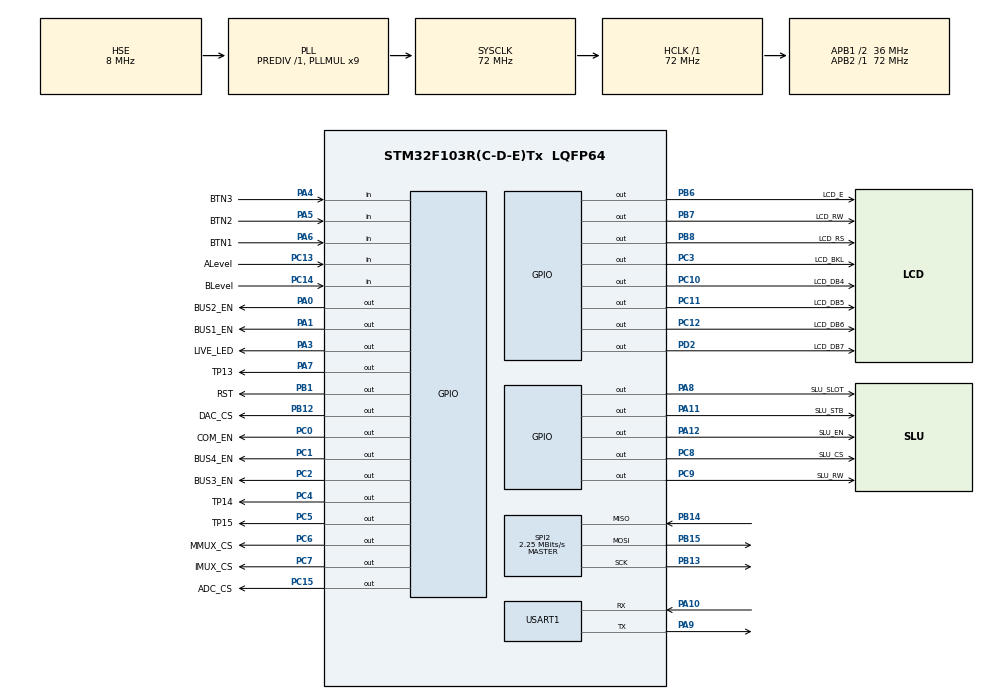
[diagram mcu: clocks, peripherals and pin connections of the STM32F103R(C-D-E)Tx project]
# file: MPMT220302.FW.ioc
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Mcu.Family=STM32F1
Mcu.Name=STM32F103R(C-D-E)Tx
Mcu.Package=LQFP64
NVIC.PriorityGroup=NVIC_PRIORITYGROUP_4
PA0-WKUP.GPIO_Label=BUS2_EN
PA0-WKUP.Signal=GPIO_Output
PA1.GPIO_Label=BUS1_EN
PA1.Signal=GPIO_Output
PA10.Mode=Asynchronous
PA10.Signal=USART1_RX
PA11.GPIO_Label=SLU_STB
PA11.Signal=GPIO_Output
PA12.GPIO_Label=SLU_EN
PA12.Signal=GPIO_Output
PA13.Mode=Trace_Asynchronous_SW
PA13.Signal=SYS_JTMS-SWDIO
PA14.Mode=Trace_Asynchronous_SW
PA14.Signal=SYS_JTCK-SWCLK
PA3.GPIO_Label=LIVE_LED
PA3.Signal=GPIO_Output
PA4.GPIO_Label=BTN3
PA4.Signal=GPIO_Input
PA5.GPIO_Label=BTN2
PA5.Signal=GPIO_Input
PA6.GPIO_Label=BTN1
PA6.Signal=GPIO_Input
PA7.GPIO_Label=TP13
PA7.Signal=GPIO_Output
PA8.GPIO_Label=SLU_SLOT
PA8.GPIO_ModeDefaultOutputPP=GPIO_MODE_OUTPUT_PP
PA8.GPIO_PuPd=GPIO_NOPULL
PA8.GPIO_Speed=GPIO_SPEED_FREQ_HIGH
PA8.PinState=GPIO_PIN_SET
PA8.Signal=GPIO_Output
PA9.Mode=Asynchronous
PA9.Signal=USART1_TX
PB1.GPIO_Label=RST
PB1.PinState=GPIO_PIN_SET
PB1.Signal=GPIO_Output
PB12.GPIO_Label=DAC_CS
PB12.GPIO_ModeDefaultOutputPP=GPIO_MODE_OUTPUT_OD
PB12.GPIO_PuPd=GPIO_NOPULL
PB12.PinState=GPIO_PIN_SET
PB12.Signal=GPIO_Output
PB13.Mode=Full_Duplex_Master
PB13.Signal=SPI2_SCK
PB14.Mode=Full_Duplex_Master
PB14.Signal=SPI2_MISO
PB15.Mode=Full_Duplex_Master
PB15.Signal=SPI2_MOSI
PB3.Mode=Trace_Asynchronous_SW
PB3.Signal=SYS_JTDO-TRACESWO
PB6.GPIO_Label=LCD_E
PB6.PinState=GPIO_PIN_SET
PB6.Signal=GPIO_Output
PB7.GPIO_Label=LCD_RW
PB7.PinState=GPIO_PIN_SET
PB7.Signal=GPIO_Output
PB8.GPIO_Label=LCD_RS
PB8.PinState=GPIO_PIN_SET
PB8.Signal=GPIO_Output
PC0.GPIO_Label=COM_EN
PC0.Signal=GPIO_Output
PC1.GPIO_Label=BUS4_EN
PC1.Signal=GPIO_Output
PC10.GPIO_Label=LCD_DB4
PC10.PinState=GPIO_PIN_SET
PC10.Signal=GPIO_Output
PC11.GPIO_Label=LCD_DB5
PC11.PinState=GPIO_PIN_SET
PC11.Signal=GPIO_Output
PC12.GPIO_Label=LCD_DB6
PC12.PinState=GPIO_PIN_SET
PC12.Signal=GPIO_Output
PC13-TAMPER-RTC.GPIO_Label=ALevel
PC13-TAMPER-RTC.Signal=GPIO_Input
PC14-OSC32_IN.GPIO_Label=BLevel
PC14-OSC32_IN.Signal=GPIO_Input
PC15-OSC32_OUT.GPIO_Label=ADC_CS
PC15-OSC32_OUT.PinState=GPIO_PIN_SET
PC15-OSC32_OUT.Signal=GPIO_Output
PC2.GPIO_Label=BUS3_EN
PC2.Signal=GPIO_Output
PC3.GPIO_Label=LCD_BKL
PC3.Signal=GPIO_Output
PC4.GPIO_Label=TP14
PC4.Signal=GPIO_Output
PC5.GPIO_Label=TP15
PC5.Signal=GPIO_Output
PC6.GPIO_Label=MMUX_CS
PC6.PinState=GPIO_PIN_SET
PC6.Signal=GPIO_Output
PC7.GPIO_Label=IMUX_CS
PC7.PinState=GPIO_PIN_SET
PC7.Signal=GPIO_Output
PC8.GPIO_Label=SLU_CS
PC8.PinState=GPIO_PIN_SET
PC8.Signal=GPIO_Output
PC9.GPIO_Label=SLU_RW
PC9.Signal=GPIO_Output
PD0-OSC_IN.Mode=HSE-External-Oscillator
PD0-OSC_IN.Signal=RCC_OSC_IN
PD1-OSC_OUT.Mode=HSE-External-Oscillator
PD1-OSC_OUT.Signal=RCC_OSC_OUT
PD2.GPIO_Label=LCD_DB7
PD2.PinState=GPIO_PIN_SET
PD2.Signal=GPIO_Output
ProjectManager.HeapSize=0x200
ProjectManager.StackSize=0x400
ProjectManager.TargetToolchain=STM32CubeIDE
RCC.AHBFreq_Value=72000000
RCC.APB1CLKDivider=RCC_HCLK_DIV2
RCC.APB1Freq_Value=36000000
RCC.APB1TimFreq_Value=72000000
RCC.APB2Freq_Value=72000000
RCC.APB2TimFreq_Value=72000000
RCC.HCLKFreq_Value=72000000
RCC.PLLMUL=RCC_PLL_MUL9
RCC.PLLSourceVirtual=RCC_PLLSOURCE_HSE
RCC.SYSCLKFreq_VALUE=72000000
RCC.SYSCLKSource=RCC_SYSCLKSOURCE_PLLCLK
RCC.USBFreq_Value=72000000
SPI2.BaudRatePrescaler=SPI_BAUDRATEPRESCALER_16
SPI2.CalculateBaudRate=2.25 MBits/s
SPI2.Direction=SPI_DIRECTION_2LINES
SPI2.Mode=SPI_MODE_MASTER
SPI2.VirtualType=VM_MASTER
USART1.VirtualMode=VM_ASYNC
board=custom

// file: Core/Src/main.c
/* USER CODE BEGIN Header */
/**
  ******************************************************************************
  * @file           : main.c
  * @brief          : Main program body
  ******************************************************************************
  * @attention
  *
  * Copyright (c) 2022 STMicroelectronics.
  * All rights reserved.
  *
  * This software is licensed under terms that can be found in the LICENSE file
  * in the root directory of this software component.
  * If no LICENSE file comes with this software, it is provided AS-IS.
  *
  ******************************************************************************
  */
/* USER CODE END Header */
#include "main.h"

/* USER CODE BEGIN Includes */
#include <string.h>
#include <stdio.h>
#include "LiveLed.h"
#include "hd44780.h"
#include "slu.h"
#include "mux.h"
#include "common.h"
/* USER CODE END Includes */

/* USER CODE BEGIN PTD */
#define MEAS_HOLD_TIME_MS   10 //2022.05.06 - 10ms

typedef enum _CtrlStatesTypeDef
{
  SDEV_START,                   //0
  SDEV_WAIT,                    //1
  SDEV_WAIT_FOR_CARD,
  SDEV_TST_MODE_SELECT,
  SDEV_WROK_U7178A,
  SDEV_DISCON,
  SDEV_BYPASS,
  SDEV_ROWS,
  SDEV_AUX,
  SDEV_INST_ROW,
  SDEV_INST_UUT,
  SDEV_FAIL_DETAIL,
  SDEV_NO_CARD,
  SDEV_NOT_SUPPERTED,
  SDEV_END,

}CtrlStatesTypeDef;

typedef enum _TestMode
{
  UUT_MODE_FULL,
  UUT_MODE_DEBUG
}UutMode_t;

typedef enum _TestType2
{
  TEST_TYPE_OPEN = 0,
  TEST_TYPE_CLOSE,
}TestType2_t;

typedef struct _AppTypeDef
{
  uint16_t FailCnt;
  uint16_t PassCnt;

  char UutName[20];
  char TestName[20];
  char ResultLine[20];

  UutMode_t UutMode;
  uint8_t FailAcceptFlag;
  CtrlStatesTypeDef SavedState;

  uint8_t CurrentRow;
  uint8_t RowsEnd;

  TestType2_t CurrentTestType;

  /*
   * 1:ABUS1
   * 2:ABUS2
   * 3:ABUS3
   * 4:ABUS4
   * 5:UUTCOM
   */
  uint8_t CurrentAnalogBus;

  struct
  {
    CtrlStatesTypeDef Next;
    CtrlStatesTypeDef Curr;
    CtrlStatesTypeDef Pre;
  }State;

}DeviceTypeDef;

/* USER CODE END PTD */

 SPI_HandleTypeDef hspi2;

UART_HandleTypeDef huart1;

/* USER CODE BEGIN PV */

DeviceTypeDef Device;
LiveLED_HnadleTypeDef hLiveLed;
char String[80];
/* USER CODE END PV */

void SystemClock_Config(void);
static void MX_GPIO_Init(void);
static void MX_SPI2_Init(void);
static void MX_USART1_UART_Init(void);
/* USER CODE BEGIN PFP */

void LiveLedOff(void);
void LiveLedOn(void);
void FailLedOn(void);
void FailLedOff(void);
void Backlight(uint8_t state);
uint8_t WorkTask(void);
uint8_t GetBtnGreen(void);
uint8_t GetBtnRed(void);
uint8_t GetBtnOrange(void);
void ConsoleWrite(char *str);

/* USER CODE END PFP */

/* USER CODE BEGIN 0 */

uint8_t WorkTask(void)
{
  static uint32_t timestamp = 0;
  static uint8_t isBtnOrangeReleased = 0;
  static uint8_t isBtnGreenReleased = 0;
  switch(Device.State.Curr)
  {
    case SDEV_START:
    {
        Device.State.Next = SDEV_WAIT;
        timestamp = HAL_GetTick();
      break;
    }

    case SDEV_WAIT:
    {
      if((HAL_GetTick() - timestamp) > 500 )
      {
        Device.State.Next = SDEV_WAIT_FOR_CARD;
      }
      break;
    }
    //01234567890123456789
    // KARTYA AZONOSITASA
    //
    //
    //
    case SDEV_WAIT_FOR_CARD:
    {
      static uint8_t cardTryCnt;
      if(Device.State.Pre != Device.State.Curr)
      {
          LcdClrscr();
          LcdxyPuts(0,0," KARTYA AZONOSITASA ");
          timestamp = HAL_GetTick();
          cardTryCnt = 0;
      }
      if(HAL_GetTick() - timestamp > 500)
      {
        uint8_t card = SluReadReg(SLU_REG_CARD_TYPE);
        Device.FailCnt = 0;
        Device.PassCnt = 0;
        MCP4812SetVolt(MCP48_CONF_A | MCP48_CONF_EN | MCP48_CONF_2x, 1.18);
        MCP4812SetVolt(MCP48_CONF_B | MCP48_CONF_EN | MCP48_CONF_2x, 2.23);

        if(SluGetModelName(String, card) == SLU_OK)
        {
          strcpy(Device.UutName, String);
          if(card == 0x19)
          {
            Device.State.Next = SDEV_WROK_U7178A;
          }
          else if(card == 0x47)
          {
            Device.RowsEnd = 64;
            Device.CurrentAnalogBus = BUS_ABUS1;
            Device.CurrentTestType = TEST_TYPE_OPEN;
            Device.State.Next = SDEV_TST_MODE_SELECT;
          }
          else if(card == 0x43)
          {
            Device.RowsEnd = 40;
            Device.CurrentAnalogBus = BUS_ABUS1;
            Device.CurrentTestType = TEST_TYPE_OPEN;
            Device.State.Next = SDEV_TST_MODE_SELECT;
          }
          else
            Device.State.Next = SDEV_NOT_SUPPERTED;

          Device.CurrentRow = SLU_ROW_START;
        }
        else
        {
          sprintf(String,"Keresem...Varj! %d ", cardTryCnt);
          LcdxyPuts(0,1,String);
          timestamp = HAL_GetTick();
          cardTryCnt++;
          if(cardTryCnt > 3)
            Device.State.Next = SDEV_NO_CARD;
        }
      }
      break;
    }

    //01234567890123456789
    //      E8783A
    //    VALASZ MODOT!
    //
    //ZD>FULL    SG>DEBUG
    case SDEV_TST_MODE_SELECT:
    {
      if(Device.State.Pre != Device.State.Curr)
      {
        LcdClrscr();
        LcdxyPuts(7,0,Device.UutName);
        LcdxyPuts(0,1,"    VALASZ MODOT!   ");
        LcdxyPuts(0,3,"ZD>FULL     SG>DEBUG");
      }
      if(GetBtnGreen() && isBtnGreenReleased)
      {
        Device.State.Next = SDEV_DISCON;
        Device.CurrentTestType = TEST_TYPE_OPEN;
        Device.UutMode = UUT_MODE_FULL;
        isBtnGreenReleased = 0;
      }
      if(GetBtnOrange() && isBtnOrangeReleased)
      {
        Device.State.Next = SDEV_DISCON;
        Device.CurrentTestType = TEST_TYPE_OPEN;
        Device.UutMode = UUT_MODE_DEBUG;
        sprintf(String,"     %s", Device.UutName);
        isBtnOrangeReleased = 0;
      }
      break;
    }

    case SDEV_WROK_U7178A:
    {
      static uint8_t relay;

      if(Device.State.Pre != Device.State.Curr)
      {
        LcdClrscr();
        LcdxyPuts(0,0,"      U7178A        ");
        relay = 0;
        timestamp = HAL_GetTick();
      }

      if(HAL_GetTick() - timestamp > 1000)
      {
        timestamp = HAL_GetTick();
        if(relay > 7)
          relay = 0;
        SluWriteReg(SLU_REG_U7178A_LOAD, SLU_U7178A_Loads[relay].Value);
        LcdxyPuts(0,1, SLU_U7178A_Loads[relay].RelayName);
        relay++;
      }
      break;
    }

    case SDEV_FAIL_DETAIL:
    {
      //01234567890123456789
      //   HIBA RESZLETEI
      //BYPS-ROW01-BU1 OPN
      //K1 R:<10 NOK
      //ZD>ISMET SG>KOVETKE
      static CtrlStatesTypeDef savedState;
      if(Device.State.Pre != Device.State.Curr)
      {
        savedState = Device.State.Pre;
        LcdClrscr();
        LcdxyPuts(0,0, "   HIBA RESZLETEI   ");
        LcdxyPuts(0,1, Device.TestName);
        LcdxyPuts(0,2, Device.ResultLine);
        LcdxyPuts(0,3, "ZD>ISMET SG>KOVETKE");
      }
      if(GetBtnGreen() && isBtnGreenReleased)
      {
        LcdClrscr();
        Device.State.Next = savedState;
        isBtnGreenReleased = 0;
      }

      if(GetBtnOrange() && isBtnOrangeReleased)
      {
        LcdClrscr();
        Device.FailAcceptFlag = 1;
        Device.State.Next = savedState;
        isBtnOrangeReleased = 0;
      }
      break;
    }
    case SDEV_DISCON:
    {
      if(Device.State.Pre != Device.State.Curr)
      {
        LcdClrscr();
        LcdxyPuts(7,0,Device.UutName);
      }

      if(Device.CurrentTestType == TEST_TYPE_OPEN)
        sprintf(Device.TestName,"DISC-ROW01-BUS%d OPN", Device.CurrentAnalogBus);
      else if (Device.CurrentTestType == TEST_TYPE_CLOSE)
        sprintf(Device.TestName,"DISC-ROW01-BUS%d CLS",Device.CurrentAnalogBus);
      LcdxyPuts(0,1, Device.TestName);

      BusSetCurrent(Device.CurrentAnalogBus);
      MMuxSetRow(1);

      if(Device.CurrentTestType == TEST_TYPE_OPEN)
      {
        SluWriteReg(SLU_REG_E8783A_E8782A_BYPAS, 0x00); //Bypass relék kikapcsolása, ez nincs hatással a disconnect relékre
        SluWriteReg(SLU_REG_STAT_CONT, SLU_BIT_STAT_MANUAL); //Ez egy nem dokumentált bit amivel ki/be kapcsolható a disconnect
      }

      if(strcmp(Device.UutName,"E8783A") == 0)
      {
        if(Device.CurrentAnalogBus == BUS_ABUS1)
        {
          SluSetRelay(SLU_REG_E8783A_ABUS1_TO_ROW, 1); //ABUS1 & ROW1: K101
          if(Device.CurrentTestType == TEST_TYPE_CLOSE)
            SluWriteReg(SLU_REG_E8783A_E8782A_BYPAS, 0x10);
        }

        if(Device.CurrentAnalogBus ==BUS_ABUS2)
        {
          SluSetRelay(SLU_REG_E8783A_ABUS2_TO_ROW, 1); //ABUS1 & ROW1: K201
          if(Device.CurrentTestType == TEST_TYPE_CLOSE)
            SluWriteReg(SLU_REG_E8783A_E8782A_BYPAS, 0x20);
        }
        if(Device.CurrentAnalogBus == BUS_ABUS3)
        {
          SluSetRelay(SLU_REG_E8783A_ABUS3_TO_ROW, 1); //ABUS1 & ROW1: K301
          if(Device.CurrentTestType == TEST_TYPE_CLOSE)
            SluWriteReg(SLU_REG_E8783A_E8782A_BYPAS, 0x40);
        }
        if(Device.CurrentAnalogBus == BUS_ABUS4)
        {
          SluSetRelay(SLU_REG_E8783A_ABUS4_TO_ROW, 1); //ABUS1 & ROW1: K401
          if(Device.CurrentTestType == TEST_TYPE_CLOSE)
            SluWriteReg(SLU_REG_E8783A_E8782A_BYPAS, 0x80);
        }
      }
      else if(strcmp(Device.UutName,"E8782A") == 0)
      {
        if(Device.CurrentAnalogBus == BUS_ABUS1)
        {
          SluSetRelay(SLU_REG_E8782A_ABUS1_TO_ROW, 1); //ABUS1 & ROW1: K125
          if(Device.CurrentTestType == TEST_TYPE_CLOSE)
            SluWriteReg(SLU_REG_E8783A_E8782A_BYPAS, 0x10);
        }

        if(Device.CurrentAnalogBus ==BUS_ABUS2)
        {
          SluSetRelay(SLU_REG_E8782A_ABUS2_TO_ROW, 1); //ABUS2 & ROW1: K225
          if(Device.CurrentTestType == TEST_TYPE_CLOSE)
            SluWriteReg(SLU_REG_E8783A_E8782A_BYPAS, 0x20);
        }

        if(Device.CurrentAnalogBus == BUS_ABUS3)
        {
          SluSetRelay(SLU_REG_E8782A_ABUS3_TO_ROW, 1); //ABUS3 & ROW1: K325
          if(Device.CurrentTestType == TEST_TYPE_CLOSE)
            SluWriteReg(SLU_REG_E8783A_E8782A_BYPAS, 0x40);
        }
        if(Device.CurrentAnalogBus == BUS_ABUS4)
        {
          SluSetRelay(SLU_REG_E8782A_ABUS4_TO_ROW, 1); //ABUS4 & ROW1: K425
          if(Device.CurrentTestType == TEST_TYPE_CLOSE)
            SluWriteReg(SLU_REG_E8783A_E8782A_BYPAS, 0x80);
        }
      }

      DelayMs(MEAS_HOLD_TIME_MS);
      double volts = MCP3201GetVolt();
      double res = GetResistance(volts);
      uint8_t al = GetALevel();
      uint8_t bl = GetBLevel();
      uint8_t isPassed = 0;

      char resstr[8];
      if (res > 1000)
        sprintf(resstr, "R:>1K\xF4");
      else if(res < 10)
        sprintf(resstr, "R:<10\xF4");
      else
        sprintf(resstr, "R:%3.0f\xF4", res);

      if(Device.CurrentTestType == TEST_TYPE_OPEN)
      {
        if(al && bl)//0...25R
          isPassed = 0;
        else if ( !al && bl )//25R...225
          isPassed = 0;
        else if(!al && !bl)//225R... infinite
          isPassed = 1;
      }

      if(Device.CurrentTestType == TEST_TYPE_CLOSE)
      {
        if(al && bl)//0...25R
          isPassed = 1;
        else if ( !al && bl )//25R...225
          isPassed = 1;
        else if(!al && !bl)//225R... infinite
          isPassed = 0;
      }

      char rlystr[3];
      switch(Device.CurrentAnalogBus)
      {
        case BUS_ABUS1: strcpy(rlystr,"K5"); break;
        case BUS_ABUS2: strcpy(rlystr,"K6"); break;
        case BUS_ABUS3: strcpy(rlystr,"K7"); break;
        case BUS_ABUS4: strcpy(rlystr,"K8"); break;
        default: strcpy(rlystr,"?"); break;
      }

      //--- K101 R:200Ω OK ---
      if(isPassed)
        sprintf(Device.ResultLine, "%s %s OK ", rlystr, resstr);
      else
      {
        sprintf(Device.ResultLine, "%s %s NOK ", rlystr, resstr);
        if(Device.UutMode == UUT_MODE_DEBUG && !Device.FailAcceptFlag)
        {
          Device.SavedState = Device.State.Curr;
          Device.State.Next = SDEV_FAIL_DETAIL;
          break;
        }
      }
      Device.FailAcceptFlag = 0;

      if(isPassed)
        Device.PassCnt++;
      else
        Device.FailCnt++;

      LcdxyPuts(0, 2, Device.ResultLine);
      SluOpenAllRelays();

      sprintf(String, "OK:%d NOK:%d", Device.PassCnt, Device.FailCnt);
      LcdxyPuts(0,3, String);

      if(Device.CurrentAnalogBus == BUS_ABUS4)
      {
        Device.CurrentAnalogBus = BUS_ABUS1;
        if(Device.CurrentTestType == TEST_TYPE_CLOSE)
        {
          Device.State.Next = SDEV_BYPASS;
          Device.CurrentRow = SLU_ROW_START;
          Device.CurrentTestType = TEST_TYPE_OPEN;
        }
        else if(Device.CurrentTestType == TEST_TYPE_OPEN)
        {
          Device.CurrentTestType = TEST_TYPE_CLOSE;
          Device.CurrentAnalogBus = BUS_ABUS1;
        }
      }
      else
      {
        Device.CurrentAnalogBus++;
      }
      break;
    }
    case SDEV_BYPASS:
    {
      if(Device.State.Pre != Device.State.Curr)
      {
        LcdClrscr();
        LcdxyPuts(7,0,Device.UutName);
      }

      if(Device.CurrentTestType == TEST_TYPE_OPEN)
        sprintf(Device.TestName,"BYPS-ROW01-BUS%d OPN", Device.CurrentAnalogBus);
      else if (Device.CurrentTestType == TEST_TYPE_CLOSE)
        sprintf(Device.TestName,"BYPS-ROW01-BUS%d CLS",Device.CurrentAnalogBus);
      LcdxyPuts(0,1, Device.TestName);

      BusSetCurrent(Device.CurrentAnalogBus);
      MMuxSetRow(1);

      if(Device.CurrentTestType == TEST_TYPE_OPEN)
        SluWriteReg(SLU_REG_E8783A_E8782A_BYPAS, 0x00);

      if(strcmp(Device.UutName,"E8783A") == 0)
      {
        if(Device.CurrentAnalogBus == BUS_ABUS1)
        {
          SluSetRelay(SLU_REG_E8783A_ABUS1_TO_ROW, 1); //ABUS1 & ROW1: K101
          if(Device.CurrentTestType == TEST_TYPE_CLOSE)
            SluWriteReg(SLU_REG_E8783A_E8782A_BYPAS, 0x01); //K1
        }

        if(Device.CurrentAnalogBus ==BUS_ABUS2)
        {
          SluSetRelay(SLU_REG_E8783A_ABUS2_TO_ROW, 1); //ABUS1 & ROW1: K201
          if(Device.CurrentTestType == TEST_TYPE_CLOSE)
            SluWriteReg(SLU_REG_E8783A_E8782A_BYPAS, 0x02); //K2
        }
        if(Device.CurrentAnalogBus == BUS_ABUS3)
        {
          SluSetRelay(SLU_REG_E8783A_ABUS3_TO_ROW, 1); //ABUS1 & ROW1: K301
          if(Device.CurrentTestType == TEST_TYPE_CLOSE)
            SluWriteReg(SLU_REG_E8783A_E8782A_BYPAS, 0x04); //K3
        }
        if(Device.CurrentAnalogBus == BUS_ABUS4)
        {
          SluSetRelay(SLU_REG_E8783A_ABUS4_TO_ROW, 1); //ABUS1 & ROW1: K401
          if(Device.CurrentTestType == TEST_TYPE_CLOSE)
            SluWriteReg(SLU_REG_E8783A_E8782A_BYPAS, 0x08); //K4
        }
      }
      else if(strcmp(Device.UutName,"E8782A") == 0)
      {
        if(Device.CurrentAnalogBus == BUS_ABUS1)
        {
          SluSetRelay(SLU_REG_E8782A_ABUS1_TO_ROW, 1); //ABUS1 & ROW1: K125
          if(Device.CurrentTestType == TEST_TYPE_CLOSE)
            SluWriteReg(SLU_REG_E8783A_E8782A_BYPAS, 0x01); //K1
        }

        if(Device.CurrentAnalogBus ==BUS_ABUS2)
        {
          SluSetRelay(SLU_REG_E8782A_ABUS2_TO_ROW, 1); //ABUS2 & ROW1: K225
          if(Device.CurrentTestType == TEST_TYPE_CLOSE)
            SluWriteReg(SLU_REG_E8783A_E8782A_BYPAS, 0x02); //K2
        }

        if(Device.CurrentAnalogBus == BUS_ABUS3)
        {
          SluSetRelay(SLU_REG_E8782A_ABUS3_TO_ROW, 1); //ABUS3 & ROW1: K325
          if(Device.CurrentTestType == TEST_TYPE_CLOSE)
            SluWriteReg(SLU_REG_E8783A_E8782A_BYPAS, 0x04); //K3
        }
        if(Device.CurrentAnalogBus == BUS_ABUS4)
        {
          SluSetRelay(SLU_REG_E8782A_ABUS4_TO_ROW, 1); //ABUS4 & ROW1: K425
          if(Device.CurrentTestType == TEST_TYPE_CLOSE)
            SluWriteReg(SLU_REG_E8783A_E8782A_BYPAS, 0x08); //K4
        }
      }

      DelayMs(MEAS_HOLD_TIME_MS);
      double volts = MCP3201GetVolt();
      double res = GetResistance(volts);
      uint8_t al = GetALevel();
      uint8_t bl = GetBLevel();
      uint8_t isPassed = 0;

      char resstr[8];
      if (res > 1000)
        sprintf(resstr, "R:>1K\xF4");
      else if(res < 10)
        sprintf(resstr, "R:<10\xF4");
      else
        sprintf(resstr, "R:%3.0f\xF4", res);

      if(Device.CurrentTestType == TEST_TYPE_OPEN)
      {
        if(al && bl)//0...25R
          isPassed = 0;
        else if ( !al && bl )//25R...225
          isPassed = 1;
        else if(!al && !bl)//225R... infinite
          isPassed = 0;
      }

      if(Device.CurrentTestType == TEST_TYPE_CLOSE)
      {
        if(al && bl)//0...25R
          isPassed = 1;
        else if ( !al && bl )//25R...225
          isPassed = 0;
        else if(!al && !bl)//225R... infinite
          isPassed = 0;
      }

      char rlystr[3];
      switch(Device.CurrentAnalogBus)
      {
        case BUS_ABUS1: strcpy(rlystr,"K1"); break;
        case BUS_ABUS2: strcpy(rlystr,"K2"); break;
        case BUS_ABUS3: strcpy(rlystr,"K3"); break;
        case BUS_ABUS4: strcpy(rlystr,"K4"); break;
        default: strcpy(rlystr,"?"); break;
      }

      //--- K101 R:200Ω OK ---
      if(isPassed)
        sprintf(Device.ResultLine, "%s %s OK ", rlystr, resstr);
      else
      {
        sprintf(Device.ResultLine, "%s %s NOK ", rlystr, resstr);
        if(Device.UutMode == UUT_MODE_DEBUG && !Device.FailAcceptFlag)
        {
          Device.SavedState = Device.State.Curr;
          Device.State.Next = SDEV_FAIL_DETAIL;
          break;
        }
      }
      Device.FailAcceptFlag = 0;

      if(isPassed)
        Device.PassCnt++;
      else
        Device.FailCnt++;

      LcdxyPuts(0, 2, Device.ResultLine);
      SluOpenAllRelays();

      sprintf(String, "OK:%d NOK:%d", Device.PassCnt, Device.FailCnt);
      LcdxyPuts(0,3, String);

      if(Device.CurrentAnalogBus == BUS_ABUS4)
      {
        Device.CurrentAnalogBus = BUS_ABUS1;
        if(Device.CurrentTestType == TEST_TYPE_CLOSE)
        {
          Device.State.Next = SDEV_ROWS;
          Device.CurrentRow = SLU_ROW_START;
          Device.CurrentTestType = TEST_TYPE_OPEN;
        }
        else if(Device.CurrentTestType == TEST_TYPE_OPEN)
        {
          Device.CurrentTestType = TEST_TYPE_CLOSE;
          Device.CurrentAnalogBus = BUS_ABUS1;
        }
      }
      else
      {
        Device.CurrentAnalogBus++;
      }
      break;
    }
    case SDEV_ROWS:
    {
      if(Device.State.Pre != Device.State.Curr)
      {
        LcdClrscr();
        LcdxyPuts(7,0,Device.UutName);
      }

      if(Device.CurrentTestType == TEST_TYPE_OPEN)
        sprintf(Device.TestName, "ROW%02d-BUS%d OPN", Device.CurrentRow, Device.CurrentAnalogBus);
      else if (Device.CurrentTestType == TEST_TYPE_CLOSE)
        sprintf(Device.TestName, "ROW%02d-BUS%d CLS", Device.CurrentRow, Device.CurrentAnalogBus);
      LcdxyPuts(0,1, Device.TestName);

      if(Device.CurrentTestType == TEST_TYPE_OPEN)
      {
        BusSetCurrent(Device.CurrentAnalogBus);
        MMuxSetRow(Device.CurrentRow);
      }

      if(Device.CurrentTestType == TEST_TYPE_CLOSE)
      {
        BusSetCurrent(Device.CurrentAnalogBus);
        MMuxSetRow(Device.CurrentRow);
        if(strcmp(Device.UutName,"E8783A") == 0)
        {
          if(Device.CurrentAnalogBus == BUS_ABUS1)
            SluSetRelay(SLU_REG_E8783A_ABUS1_TO_ROW, Device.CurrentRow );

          if(Device.CurrentAnalogBus == BUS_ABUS2)
            SluSetRelay(SLU_REG_E8783A_ABUS2_TO_ROW, Device.CurrentRow );

          if(Device.CurrentAnalogBus == BUS_ABUS3)
            SluSetRelay(SLU_REG_E8783A_ABUS3_TO_ROW, Device.CurrentRow );

          if(Device.CurrentAnalogBus == BUS_ABUS4)
            SluSetRelay(SLU_REG_E8783A_ABUS4_TO_ROW, Device.CurrentRow );
        }
        else if(strcmp(Device.UutName,"E8782A") == 0)
        {
          if(Device.CurrentAnalogBus == BUS_ABUS1)
            SluSetRelay(SLU_REG_E8782A_ABUS1_TO_ROW, Device.CurrentRow );

          if(Device.CurrentAnalogBus == BUS_ABUS2)
            SluSetRelay(SLU_REG_E8782A_ABUS2_TO_ROW, Device.CurrentRow );

          if(Device.CurrentAnalogBus == BUS_ABUS3)
            SluSetRelay(SLU_REG_E8782A_ABUS3_TO_ROW, Device.CurrentRow );

          if(Device.CurrentAnalogBus == BUS_ABUS4)
            SluSetRelay(SLU_REG_E8782A_ABUS4_TO_ROW, Device.CurrentRow );
        }
      }

      DelayMs(MEAS_HOLD_TIME_MS);
      double volts = MCP3201GetVolt();
      double res = GetResistance(volts);
      uint8_t al = GetALevel();
      uint8_t bl = GetBLevel();
      uint8_t isPassed = 0;

      char resstr[8]; //R:200Ω
      if (res > 1000)
        sprintf(resstr, "R:>1K\xF4");
      else if(res < 10)
        sprintf(resstr, "R:<10\xF4");
      else
        sprintf(resstr, "R:%3.0f\xF4", res );

      if(Device.CurrentTestType == TEST_TYPE_CLOSE)
      {
        if(al && bl) //0...25R
          isPassed = 1;
        else if ( !al && bl ) //25R...225
          isPassed = 1;
        else if(!al && !bl)//225R... infinite
          isPassed = 0;
      }
      else if(Device.CurrentTestType == TEST_TYPE_OPEN)
      {
        if(al && bl) //0...25R
          isPassed = 0;
        else if (!al && bl)//25R...225
          isPassed = 0;
        else if(!al && !bl)//225R... infinite
          isPassed = 1;
      }

      if(strcmp(Device.UutName,"E8783A") == 0)
      {
        if(isPassed)
          sprintf(Device.ResultLine, "K%d%02d %s OK ", Device.CurrentAnalogBus, Device.CurrentRow, resstr);
        else
          sprintf(Device.ResultLine, "K%d%02d %s NOK ", Device.CurrentAnalogBus, Device.CurrentRow, resstr);
      }
      else if(strcmp(Device.UutName,"E8782A") == 0)
      {
        if(isPassed)
          sprintf(Device.ResultLine, "K%d%02d %s OK ", Device.CurrentAnalogBus, Device.CurrentRow + 24, resstr);
        else
          sprintf(Device.ResultLine, "K%d%02d %s NOK ", Device.CurrentAnalogBus, Device.CurrentRow + 24, resstr);
      }

      if(!isPassed)
      {
        if(Device.UutMode == UUT_MODE_DEBUG && !Device.FailAcceptFlag)
        {
          Device.State.Next = SDEV_FAIL_DETAIL;
          break;
        }
      }
      Device.FailAcceptFlag = 0;

      if(isPassed)
        Device.PassCnt++;
      else
        Device.FailCnt++;

      sprintf(String, "OK:%d NOK:%d", Device.PassCnt, Device.FailCnt);
      LcdxyPuts(0,3, String);

      LcdxyPuts(0, 2, Device.ResultLine);
      SluOpenAllRelays();

      if(Device.CurrentRow == Device.RowsEnd)
      {
        if(Device.CurrentAnalogBus == BUS_ABUS4 && Device.CurrentTestType == TEST_TYPE_CLOSE)
        {
          Device.State.Next = SDEV_AUX;
          Device.CurrentTestType = TEST_TYPE_OPEN;
          Device.CurrentAnalogBus = BUS_ABUS1;
        }
        else if(Device.CurrentAnalogBus == BUS_ABUS4 && Device.CurrentTestType == TEST_TYPE_OPEN)
        {
          Device.CurrentTestType = TEST_TYPE_CLOSE;
          Device.CurrentAnalogBus = BUS_ABUS1;
        }
        else
        {
          Device.CurrentAnalogBus++;
        }
        Device.CurrentRow = SLU_ROW_START;
      }
      else
      {
        Device.CurrentRow++;
      }
      break;
    }

    case SDEV_AUX:
    {
      if(Device.State.Pre != Device.State.Curr)
      {
        LcdClrscr();
        LcdxyPuts(7,0,Device.UutName);
        BusSetCurrent(BUS_ABUS1);
      }

      if(Device.CurrentTestType == TEST_TYPE_OPEN)
        sprintf(Device.TestName, "AUX%02d-ROW%02d-BUS%d OPN",Device.CurrentRow, Device.CurrentRow, BUS_ABUS1);
      else if (Device.CurrentTestType == TEST_TYPE_CLOSE)
        sprintf(Device.TestName, "AUX%02d-ROW%02d-BUS%d CLS",Device.CurrentRow, Device.CurrentRow, BUS_ABUS1);
      LcdxyPuts(0,1, Device.TestName);

      if(strcmp(Device.UutName,"E8783A") == 0)
      {
        MMuxSetAux(Device.CurrentRow);
        SluSetRelay(SLU_REG_E8783A_ABUS1_TO_ROW, Device.CurrentRow );
        if(Device.CurrentTestType == TEST_TYPE_CLOSE)
        {
          SluSetRelay(SLU_REG_E8783A_ROW_TO_AUX, Device.CurrentRow);
        }
      }
      else if(strcmp(Device.UutName,"E8782A") == 0)
      {
        MMuxSetAux(Device.CurrentRow);
        SluSetRelay(SLU_REG_E8782A_ABUS1_TO_ROW, Device.CurrentRow );
        if(Device.CurrentTestType == TEST_TYPE_CLOSE)
        {
          SluSetRelay(SLU_REG_E8782A_ROW_TO_AUX, Device.CurrentRow);
        }
      }

      DelayMs(MEAS_HOLD_TIME_MS);
      double volts = MCP3201GetVolt();
      double res = GetResistance(volts);
      uint8_t al = GetALevel();
      uint8_t bl = GetBLevel();
      uint8_t isPassed = 0;

      char resstr[8]; //R:200Ω
      if (res > 1000)
        sprintf(resstr, "R:>1K\xF4");
      else if(res < 10)
        sprintf(resstr, "R:<10\xF4");
      else
        sprintf(resstr, "R:%3.0f\xF4", res );

      if(Device.CurrentTestType == TEST_TYPE_CLOSE)
      {
        if(al && bl)//0...25R
          isPassed = 1;
        else if ( !al && bl)//25R...225
          isPassed = 1;
        else if(!al && !bl)//225R... infinite
          isPassed = 0;
      }
      else if(Device.CurrentTestType == TEST_TYPE_OPEN)
      {
        if(al && bl)//0...25R
          isPassed = 0;
        else if (!al && bl)//25R...225
          isPassed = 0;
        else if(!al && !bl)//225R... infinite
          isPassed = 1;
      }

      //--- K901 NOK R:200Ω ---
      if(strcmp(Device.UutName,"E8783A") == 0)
      {
        if(isPassed)
          sprintf(Device.ResultLine, "K9%02d %s OK ", Device.CurrentRow, resstr);
        else
          sprintf(Device.ResultLine, "K9%02d %s NOK ", Device.CurrentRow, resstr);
      }
      else if(strcmp(Device.UutName,"E8782A") == 0)
      {
        if(isPassed)
          sprintf(Device.ResultLine, "K9%02d %s OK ", Device.CurrentRow + 24, resstr);
        else
          sprintf(Device.ResultLine, "K9%02d %s NOK ", Device.CurrentRow + 24, resstr);
      }

      if(!isPassed)
      {
        if(Device.UutMode == UUT_MODE_DEBUG && !Device.FailAcceptFlag)
        {
          Device.State.Next = SDEV_FAIL_DETAIL;
          break;
        }
      }
      Device.FailAcceptFlag = 0;

      LcdxyPuts(0, 2, Device.ResultLine);
      SluOpenAllRelays();

      if(isPassed)
        Device.PassCnt++;
      else
        Device.FailCnt++;

      sprintf(String, "OK:%d NOK:%d", Device.PassCnt, Device.FailCnt);
      LcdxyPuts(0,3, String);

      if(Device.CurrentRow == Device.RowsEnd)
      {
        if(Device.CurrentTestType == TEST_TYPE_CLOSE)
        {
          Device.CurrentTestType = TEST_TYPE_OPEN;
          Device.CurrentAnalogBus = BUS_ABUS1;

          if(strcmp(Device.UutName,"E8783A") == 0)
            Device.State.Next = SDEV_END;
          else if (strcmp(Device.UutName,"E8782A") == 0)
            Device.State.Next = SDEV_INST_ROW;
        }
        else if(Device.CurrentTestType == TEST_TYPE_OPEN)
        {
          Device.CurrentTestType = TEST_TYPE_CLOSE;
        }
        Device.CurrentRow = SLU_ROW_START;
      }
      else
      {
        Device.CurrentRow++;
      }
      break;
    }

    case SDEV_INST_ROW:
    {
      if(Device.State.Pre != Device.State.Curr)
      {
        LcdClrscr();
        LcdxyPuts(7,0,Device.UutName);
      }

      if(Device.CurrentTestType == TEST_TYPE_OPEN)
        sprintf(Device.TestName, "INST%02d-BUS%d OPN", Device.CurrentRow, Device.CurrentAnalogBus);
      else if (Device.CurrentTestType == TEST_TYPE_CLOSE)
        sprintf(Device.TestName, "INST%02d-BUS%d CLS", Device.CurrentRow, Device.CurrentAnalogBus);
      LcdxyPuts(0,1, Device.TestName);

      if(Device.CurrentTestType == TEST_TYPE_OPEN)
      {
        BusSetCurrent(Device.CurrentAnalogBus);
        IMuxSetRow(Device.CurrentRow);
      }

      if(Device.CurrentTestType == TEST_TYPE_CLOSE)
      {
        BusSetCurrent(Device.CurrentAnalogBus);
        IMuxSetRow(Device.CurrentRow);

        if(Device.CurrentAnalogBus == BUS_ABUS1)
          SluSetRelay(SLU_REG_E8782A_ABUS1_TO_INST, Device.CurrentRow );

        if(Device.CurrentAnalogBus == BUS_ABUS2)
          SluSetRelay(SLU_REG_E8782A_ABUS2_TO_INST, Device.CurrentRow );

        if(Device.CurrentAnalogBus == BUS_ABUS3)
          SluSetRelay(SLU_REG_E8782A_ABUS3_TO_INST, Device.CurrentRow );

        if(Device.CurrentAnalogBus == BUS_ABUS4)
          SluSetRelay(SLU_REG_E8782A_ABUS4_TO_INST, Device.CurrentRow );
      }

      DelayMs(MEAS_HOLD_TIME_MS);
      double volts = MCP3201GetVolt();
      double res = GetResistance(volts);
      uint8_t al = GetALevel();
      uint8_t bl = GetBLevel();
      uint8_t isPassed = 0;

      char resstr[8]; //R:200Ω
      if (res > 1000)
        sprintf(resstr, "R:>1K\xF4");
      else if(res < 10)
        sprintf(resstr, "R:<10\xF4");
      else
        sprintf(resstr, "R:%3.0f\xF4", res );

      if(Device.CurrentTestType == TEST_TYPE_CLOSE)
      {
        if(al && bl) //0...25R
          isPassed = 1;
        else if ( !al && bl ) //25R...225
          isPassed = 0;
        else if(!al && !bl)//225R... infinite
          isPassed = 0;
      }
      else if(Device.CurrentTestType == TEST_TYPE_OPEN)
      {
        if(al && bl) //0...25R
          isPassed = 0;
        else if (!al && bl)//25R...225
          isPassed = 0;
        else if(!al && !bl)//225R... infinite
          isPassed = 1;
      }

      if(isPassed)
        sprintf(Device.ResultLine, "K%d%02d %s OK ", Device.CurrentAnalogBus, Device.CurrentRow, resstr);
      else
        sprintf(Device.ResultLine, "K%d%02d %s NOK ", Device.CurrentAnalogBus, Device.CurrentRow, resstr);

      if(!isPassed)
      {
        if(Device.UutMode == UUT_MODE_DEBUG && !Device.FailAcceptFlag)
        {
          Device.State.Next = SDEV_FAIL_DETAIL;
          break;
        }
      }
      Device.FailAcceptFlag = 0;

      if(isPassed)
        Device.PassCnt++;
      else
        Device.FailCnt++;

      sprintf(String, "OK:%d NOK:%d", Device.PassCnt, Device.FailCnt);
      LcdxyPuts(0,3, String);

      LcdxyPuts(0, 2, Device.ResultLine);
      SluOpenAllRelays();

      if(Device.CurrentRow == SLU_E8782A_INST_ROW_END)
      {
        if(Device.CurrentAnalogBus == BUS_ABUS4 && Device.CurrentTestType == TEST_TYPE_CLOSE)
        {
          Device.State.Next = SDEV_INST_UUT;
          Device.CurrentTestType = TEST_TYPE_OPEN;
          Device.CurrentAnalogBus = BUS_ABUS1;
        }
        else if(Device.CurrentAnalogBus == BUS_ABUS4 && Device.CurrentTestType == TEST_TYPE_OPEN)
        {
          Device.CurrentTestType = TEST_TYPE_CLOSE;
          Device.CurrentAnalogBus = BUS_ABUS1;
        }
        else
        {
          Device.CurrentAnalogBus++;
        }
        Device.CurrentRow = SLU_ROW_START;
      }
      else
      {
        Device.CurrentRow++;
      }
      break;
    }
    case SDEV_INST_UUT:
    {
      if(Device.State.Pre != Device.State.Curr)
      {
        LcdClrscr();
        LcdxyPuts(7,0,Device.UutName);
      }

      if(Device.CurrentTestType == TEST_TYPE_OPEN)
        sprintf(Device.TestName, "INST%02d-UUT OPN", Device.CurrentRow);
      else if (Device.CurrentTestType == TEST_TYPE_CLOSE)
        sprintf(Device.TestName, "INST%02d-UUT CLS", Device.CurrentRow);
      LcdxyPuts(0,1, Device.TestName);

      BusSetCurrent(BUS_COMM);
      IMuxSetRow(Device.CurrentRow);

      if(Device.CurrentTestType == TEST_TYPE_CLOSE)
        SluSetRelay(SLU_REG_E8782A_UUT_TO_INST, Device.CurrentRow);

      DelayMs(MEAS_HOLD_TIME_MS);
      double volts = MCP3201GetVolt();
      double res = GetResistance(volts);
      uint8_t al = GetALevel();
      uint8_t bl = GetBLevel();
      uint8_t isPassed = 0;

      char resstr[8]; //R:200Ω
      if (res > 1000)
        sprintf(resstr, "R:>1K\xF4");
      else if(res < 10)
        sprintf(resstr, "R:<10\xF4");
      else
        sprintf(resstr, "R:%3.0f\xF4", res );

      if(Device.CurrentTestType == TEST_TYPE_CLOSE)
      {
        if(al && bl) //0...25R
          isPassed = 1;
        else if ( !al && bl ) //25R...225
          isPassed = 1;
        else if(!al && !bl)//225R... infinite
          isPassed = 0;
      }
      else if(Device.CurrentTestType == TEST_TYPE_OPEN)
      {
        if(al && bl) //0...25R
          isPassed = 0;
        else if (!al && bl)//25R...225
          isPassed = 0;
        else if(!al && !bl)//225R... infinite
          isPassed = 1;
      }

      if(isPassed)
        sprintf(Device.ResultLine, "K9%02d %s OK ", Device.CurrentRow, resstr);
      else
        sprintf(Device.ResultLine, "K9%02d %s NOK ", Device.CurrentRow, resstr);

      if(!isPassed)
      {
        if(Device.UutMode == UUT_MODE_DEBUG && !Device.FailAcceptFlag)
        {
          Device.State.Next = SDEV_FAIL_DETAIL;
          break;
        }
      }
      Device.FailAcceptFlag = 0;

      if(isPassed)
        Device.PassCnt++;
      else
        Device.FailCnt++;

      sprintf(String, "OK:%d NOK:%d", Device.PassCnt, Device.FailCnt);
      LcdxyPuts(0,3, String);

      LcdxyPuts(0, 2, Device.ResultLine);
      SluOpenAllRelays();

      if(Device.CurrentRow == SLU_E8782A_INST_ROW_END)
      {
        if(Device.CurrentTestType == TEST_TYPE_CLOSE)
        {
          Device.State.Next = SDEV_END;
          Device.CurrentTestType = TEST_TYPE_OPEN;
        }
        else if(Device.CurrentTestType == TEST_TYPE_OPEN)
        {
          Device.CurrentTestType = TEST_TYPE_CLOSE;
        }

        Device.CurrentRow = SLU_ROW_START;
      }
      else
      {
        Device.CurrentRow++;
      }
      break;
    }

    case SDEV_END:
    {
      //01234567890123456789
      //E8783A TESZT VEGE
      //  >>> FAILED <<<
      //OK:640 NOK:16
      //SG>UJRA"
      if(Device.State.Pre != Device.State.Curr)
      {
        BusSetCurrent(BUS_OFF);
        LcdClrscr();
        sprintf(String,"%s TESZT VEGE", Device.UutName);
        LcdxyPuts(0,0, String);
        if(Device.FailCnt == 0)
          LcdxyPuts(0,1, "  >>> PASSSED <<<   ");
        else
          LcdxyPuts(0,1, "  >>> FAILED <<<    ");
        sprintf(String, "OK:%d NOK:%d", Device.PassCnt, Device.FailCnt);
        LcdxyPuts(0,2, String);
        LcdxyPuts(0,3, "SG>UJRA");
      }

      if(GetBtnOrange() && isBtnOrangeReleased)
      {
        LcdClrscr();
        Device.State.Next = SDEV_WAIT_FOR_CARD;
        isBtnOrangeReleased = 0;
      }
      break;
    }

    //01234567890123456789
    //    NINCS KARTYA
    //
    //
    //SG>UJRA"
    case SDEV_NO_CARD:
    {
      if(Device.State.Pre != Device.State.Curr)
      {
        LcdClrscr();
        LcdxyPuts(0,0,"    NINCS KARTYA    ");
        LcdxyPuts(0,3, "SG>UJRA");
      }
      if(GetBtnOrange())
      {
        Device.State.Next = SDEV_WAIT_FOR_CARD;
      }
      break;
    }

    //01234567890123456789
    //   NEM TAMOGATOTT
    //
    //
    //SG>UJRA"
    case SDEV_NOT_SUPPERTED:
    {
      if(Device.State.Pre != Device.State.Curr)
      {
        LcdClrscr();
        LcdxyPuts(0,0, "   NEM TAMOGATOTT   ");
        LcdxyPuts(0,3, "SG>UJRA");
      }

      if(GetBtnOrange())
      {
        LcdClrscr();
        Device.State.Next = SDEV_WAIT_FOR_CARD;
      }
      break;
    }
  }

  if(!GetBtnGreen())
    isBtnGreenReleased = 1;

  if(!GetBtnOrange())
    isBtnOrangeReleased = 1;

  Device.State.Pre = Device.State.Curr;
  Device.State.Curr = Device.State.Next;

  return DEVICE_OK;
}

/* USER CODE SDEV_END 0 */

int main(void)
{
  /* USER CODE BEGIN 1 */

  /* USER CODE SDEV_END 1 */

  /* MCU Configuration--------------------------------------------------------*/

  /* Reset of all peripherals, Initializes the Flash interface and the Systick. */
  HAL_Init();

  /* USER CODE BEGIN Init */

  /* USER CODE SDEV_END Init */

  /* Configure the system clock */
  SystemClock_Config();

  /* USER CODE BEGIN SysInit */

  /* USER CODE SDEV_END SysInit */

  /* Initialize all configured peripherals */
  MX_GPIO_Init();
  MX_SPI2_Init();
  MX_USART1_UART_Init();
  /* USER CODE BEGIN 2 */

  /*** Reset Everyting ***/
  HAL_GPIO_WritePin(RST_GPIO_Port, RST_Pin, GPIO_PIN_RESET);
  DelayMs(100);
  HAL_GPIO_WritePin(RST_GPIO_Port, RST_Pin, GPIO_PIN_SET);
  DelayMs(5);

  /*** LiveLed ***/
  hLiveLed.LedOffFnPtr = &LiveLedOff;
  hLiveLed.LedOnFnPtr = &LiveLedOn;
  hLiveLed.HalfPeriodTimeMs = 500;
  LiveLedInit(&hLiveLed);

  /*** LCD ***/
  LcdInit(LCD_FUNC_4B_2L, LCD_MODE_DISP, LCD_MODE_DISP);
               /*01234567890123456789*/
  LcdxyPuts(0, 0,"  PIN MATRIX TESTER ");
  sprintf(String, "%sV%s", DEVICE_NAME, DEVICE_PCB);
  LcdxyPuts(0, 1,String);//MPMT220302V00
  sprintf(String,"FW:%s", DEVICE_FW);
  LcdxyPuts(0, 2, String);//220428_1004
  sprintf(String,"%s", DEVICE_MNF);
  LcdxyPuts(0, 3, String);

  Backlight(1);
  SluInit(&hspi2);
  MuxInit(&hspi2);
  SluCardSoftReset();
  Device.UutMode = UUT_MODE_DEBUG;

  /***Gameplay place***/

  /* USER CODE SDEV_END 2 */

  /* Infinite loop */
  /* USER CODE BEGIN WHILE */
  static uint32_t timestamp;

  while (1)
  {

   WorkTask();

   if(HAL_GetTick() - timestamp > 100)
   {
     timestamp = HAL_GetTick();
   }

   LiveLedTask(&hLiveLed);
    /* USER CODE SDEV_END WHILE */

    /* USER CODE BEGIN 3 */
  }
  /* USER CODE SDEV_END 3 */
}

void SystemClock_Config(void)
{
  RCC_OscInitTypeDef RCC_OscInitStruct = {0};
  RCC_ClkInitTypeDef RCC_ClkInitStruct = {0};

  /** Initializes the RCC Oscillators according to the specified parameters
  * in the RCC_OscInitTypeDef structure.
  */
  RCC_OscInitStruct.OscillatorType = RCC_OSCILLATORTYPE_HSE;
  RCC_OscInitStruct.HSEState = RCC_HSE_ON;
  RCC_OscInitStruct.HSEPredivValue = RCC_HSE_PREDIV_DIV1;
  RCC_OscInitStruct.HSIState = RCC_HSI_ON;
  RCC_OscInitStruct.PLL.PLLState = RCC_PLL_ON;
  RCC_OscInitStruct.PLL.PLLSource = RCC_PLLSOURCE_HSE;
  RCC_OscInitStruct.PLL.PLLMUL = RCC_PLL_MUL9;
  if (HAL_RCC_OscConfig(&RCC_OscInitStruct) != HAL_OK)
  {
    Error_Handler();
  }

  /** Initializes the CPU, AHB and APB buses clocks
  */
  RCC_ClkInitStruct.ClockType = RCC_CLOCKTYPE_HCLK|RCC_CLOCKTYPE_SYSCLK
                              |RCC_CLOCKTYPE_PCLK1|RCC_CLOCKTYPE_PCLK2;
  RCC_ClkInitStruct.SYSCLKSource = RCC_SYSCLKSOURCE_PLLCLK;
  RCC_ClkInitStruct.AHBCLKDivider = RCC_SYSCLK_DIV1;
  RCC_ClkInitStruct.APB1CLKDivider = RCC_HCLK_DIV2;
  RCC_ClkInitStruct.APB2CLKDivider = RCC_HCLK_DIV1;

  if (HAL_RCC_ClockConfig(&RCC_ClkInitStruct, FLASH_LATENCY_2) != HAL_OK)
  {
    Error_Handler();
  }
}

static void MX_SPI2_Init(void)
{

  /* USER CODE BEGIN SPI2_Init 0 */

  /* USER CODE SDEV_END SPI2_Init 0 */

  /* SPI2 parameter configuration*/
  hspi2.Instance = SPI2;
  hspi2.Init.Mode = SPI_MODE_MASTER;
  hspi2.Init.Direction = SPI_DIRECTION_2LINES;
  hspi2.Init.DataSize = SPI_DATASIZE_8BIT;
  hspi2.Init.CLKPolarity = SPI_POLARITY_LOW;
  hspi2.Init.CLKPhase = SPI_PHASE_1EDGE;
  hspi2.Init.NSS = SPI_NSS_SOFT;
  hspi2.Init.BaudRatePrescaler = SPI_BAUDRATEPRESCALER_16;
  hspi2.Init.FirstBit = SPI_FIRSTBIT_MSB;
  hspi2.Init.TIMode = SPI_TIMODE_DISABLE;
  hspi2.Init.CRCCalculation = SPI_CRCCALCULATION_DISABLE;
  hspi2.Init.CRCPolynomial = 10;
  if (HAL_SPI_Init(&hspi2) != HAL_OK)
  {
    Error_Handler();
  }
  /* USER CODE BEGIN SPI2_Init 2 */

  /* USER CODE SDEV_END SPI2_Init 2 */

}

static void MX_USART1_UART_Init(void)
{

  /* USER CODE BEGIN USART1_Init 1 */

  /* USER CODE SDEV_END USART1_Init 1 */
  huart1.Instance = USART1;
  huart1.Init.BaudRate = 115200;
  huart1.Init.WordLength = UART_WORDLENGTH_8B;
  huart1.Init.StopBits = UART_STOPBITS_1;
  huart1.Init.Parity = UART_PARITY_NONE;
  huart1.Init.Mode = UART_MODE_TX_RX;
  huart1.Init.HwFlowCtl = UART_HWCONTROL_NONE;
  huart1.Init.OverSampling = UART_OVERSAMPLING_16;
  if (HAL_UART_Init(&huart1) != HAL_OK)
  {
    Error_Handler();
  }
  /* USER CODE BEGIN USART1_Init 2 */

  /* USER CODE SDEV_END USART1_Init 2 */

}

static void MX_GPIO_Init(void)
{
  GPIO_InitTypeDef GPIO_InitStruct = {0};

  /* GPIO Ports Clock Enable */
  __HAL_RCC_GPIOC_CLK_ENABLE();
  __HAL_RCC_GPIOD_CLK_ENABLE();
  __HAL_RCC_GPIOA_CLK_ENABLE();
  __HAL_RCC_GPIOB_CLK_ENABLE();

  /*Configure GPIO pin Output Level */
  HAL_GPIO_WritePin(GPIOC, ADC_CS_Pin|MMUX_CS_Pin|IMUX_CS_Pin|SLU_CS_Pin
                          |LCD_DB4_Pin|LCD_DB5_Pin|LCD_DB6_Pin, GPIO_PIN_SET);

  /*Configure GPIO pin Output Level */
  HAL_GPIO_WritePin(GPIOC, COM_EN_Pin|BUS4_EN_Pin|BUS3_EN_Pin|LCD_BKL_Pin
                          |TP14_Pin|TP15_Pin|SLU_RW_Pin, GPIO_PIN_RESET);

  /*Configure GPIO pin Output Level */
  HAL_GPIO_WritePin(GPIOA, BUS2_EN_Pin|BUS1_EN_Pin|LIVE_LED_Pin|TP13_Pin
                          |SLU_STB_Pin|SLU_EN_Pin, GPIO_PIN_RESET);

  /*Configure GPIO pin Output Level */
  HAL_GPIO_WritePin(GPIOB, RST_Pin|DAC_CS_Pin|LCD_E_Pin|LCD_RW_Pin
                          |LCD_RS_Pin, GPIO_PIN_SET);

  /*Configure GPIO pin Output Level */
  HAL_GPIO_WritePin(SLU_SLOT_GPIO_Port, SLU_SLOT_Pin, GPIO_PIN_SET);

  /*Configure GPIO pin Output Level */
  HAL_GPIO_WritePin(LCD_DB7_GPIO_Port, LCD_DB7_Pin, GPIO_PIN_SET);

  /*Configure GPIO pins : ALevel_Pin BLevel_Pin */
  GPIO_InitStruct.Pin = ALevel_Pin|BLevel_Pin;
  GPIO_InitStruct.Mode = GPIO_MODE_INPUT;
  GPIO_InitStruct.Pull = GPIO_NOPULL;
  HAL_GPIO_Init(GPIOC, &GPIO_InitStruct);

  /*Configure GPIO pins : ADC_CS_Pin COM_EN_Pin BUS4_EN_Pin BUS3_EN_Pin
                           LCD_BKL_Pin TP14_Pin TP15_Pin MMUX_CS_Pin
                           IMUX_CS_Pin SLU_CS_Pin SLU_RW_Pin LCD_DB4_Pin
                           LCD_DB5_Pin LCD_DB6_Pin */
  GPIO_InitStruct.Pin = ADC_CS_Pin|COM_EN_Pin|BUS4_EN_Pin|BUS3_EN_Pin
                          |LCD_BKL_Pin|TP14_Pin|TP15_Pin|MMUX_CS_Pin
                          |IMUX_CS_Pin|SLU_CS_Pin|SLU_RW_Pin|LCD_DB4_Pin
                          |LCD_DB5_Pin|LCD_DB6_Pin;
  GPIO_InitStruct.Mode = GPIO_MODE_OUTPUT_PP;
  GPIO_InitStruct.Pull = GPIO_NOPULL;
  GPIO_InitStruct.Speed = GPIO_SPEED_FREQ_LOW;
  HAL_GPIO_Init(GPIOC, &GPIO_InitStruct);

  /*Configure GPIO pins : BUS2_EN_Pin BUS1_EN_Pin LIVE_LED_Pin TP13_Pin
                           SLU_STB_Pin SLU_EN_Pin */
  GPIO_InitStruct.Pin = BUS2_EN_Pin|BUS1_EN_Pin|LIVE_LED_Pin|TP13_Pin
                          |SLU_STB_Pin|SLU_EN_Pin;
  GPIO_InitStruct.Mode = GPIO_MODE_OUTPUT_PP;
  GPIO_InitStruct.Pull = GPIO_NOPULL;
  GPIO_InitStruct.Speed = GPIO_SPEED_FREQ_LOW;
  HAL_GPIO_Init(GPIOA, &GPIO_InitStruct);

  /*Configure GPIO pins : BTN3_Pin BTN2_Pin BTN1_Pin */
  GPIO_InitStruct.Pin = BTN3_Pin|BTN2_Pin|BTN1_Pin;
  GPIO_InitStruct.Mode = GPIO_MODE_INPUT;
  GPIO_InitStruct.Pull = GPIO_NOPULL;
  HAL_GPIO_Init(GPIOA, &GPIO_InitStruct);

  /*Configure GPIO pins : RST_Pin LCD_E_Pin LCD_RW_Pin LCD_RS_Pin */
  GPIO_InitStruct.Pin = RST_Pin|LCD_E_Pin|LCD_RW_Pin|LCD_RS_Pin;
  GPIO_InitStruct.Mode = GPIO_MODE_OUTPUT_PP;
  GPIO_InitStruct.Pull = GPIO_NOPULL;
  GPIO_InitStruct.Speed = GPIO_SPEED_FREQ_LOW;
  HAL_GPIO_Init(GPIOB, &GPIO_InitStruct);

  /*Configure GPIO pin : DAC_CS_Pin */
  GPIO_InitStruct.Pin = DAC_CS_Pin;
  GPIO_InitStruct.Mode = GPIO_MODE_OUTPUT_OD;
  GPIO_InitStruct.Pull = GPIO_NOPULL;
  GPIO_InitStruct.Speed = GPIO_SPEED_FREQ_LOW;
  HAL_GPIO_Init(DAC_CS_GPIO_Port, &GPIO_InitStruct);

  /*Configure GPIO pin : SLU_SLOT_Pin */
  GPIO_InitStruct.Pin = SLU_SLOT_Pin;
  GPIO_InitStruct.Mode = GPIO_MODE_OUTPUT_PP;
  GPIO_InitStruct.Pull = GPIO_NOPULL;
  GPIO_InitStruct.Speed = GPIO_SPEED_FREQ_HIGH;
  HAL_GPIO_Init(SLU_SLOT_GPIO_Port, &GPIO_InitStruct);

  /*Configure GPIO pin : LCD_DB7_Pin */
  GPIO_InitStruct.Pin = LCD_DB7_Pin;
  GPIO_InitStruct.Mode = GPIO_MODE_OUTPUT_PP;
  GPIO_InitStruct.Pull = GPIO_NOPULL;
  GPIO_InitStruct.Speed = GPIO_SPEED_FREQ_LOW;
  HAL_GPIO_Init(LCD_DB7_GPIO_Port, &GPIO_InitStruct);

}

/* USER CODE BEGIN 4 */

/* printf -------------------------------------------------------------------*/
int _write(int file, char *ptr, int len)
{
  HAL_UART_Transmit(&huart1, (uint8_t*)ptr, len, 100);
  return len;
}

void ConsoleWrite(char *str)
{
  HAL_UART_Transmit(&huart1, (uint8_t*)str, strlen(str), 100);
}

void Backlight(uint8_t state)
{
  if(state)
    HAL_GPIO_WritePin(LCD_BKL_GPIO_Port, LCD_BKL_Pin, GPIO_PIN_SET);
  else
    HAL_GPIO_WritePin(LCD_BKL_GPIO_Port, LCD_BKL_Pin, GPIO_PIN_RESET);
}

/* LEDs ---------------------------------------------------------------------*/
void LiveLedOn(void)
{
  HAL_GPIO_WritePin(LIVE_LED_GPIO_Port, LIVE_LED_Pin, GPIO_PIN_SET);
}

void LiveLedOff(void)
{
  HAL_GPIO_WritePin(LIVE_LED_GPIO_Port, LIVE_LED_Pin, GPIO_PIN_RESET);
}

/* Buttons--------------------------------------------------------------------*/
uint8_t GetBtnGreen(void)
{
  uint8_t temp = HAL_GPIO_ReadPin(BTN1_GPIO_Port, BTN1_Pin);
  return  temp == GPIO_PIN_RESET;
}

uint8_t GetBtnRed(void)
{
  uint8_t temp = HAL_GPIO_ReadPin(BTN2_GPIO_Port, BTN2_Pin);
  return  temp == GPIO_PIN_RESET;
}

uint8_t GetBtnOrange(void)
{
  uint8_t temp = HAL_GPIO_ReadPin(BTN3_GPIO_Port, BTN3_Pin);
  return  temp == GPIO_PIN_RESET;
}

/* USER CODE END 4 */

void Error_Handler(void)
{
  /* USER CODE BEGIN Error_Handler_Debug */
  /* User can add his own implementation to report the HAL error return state */
  __disable_irq();
  while (1)
  {
  }
  /* USER CODE SDEV_END Error_Handler_Debug */
}
